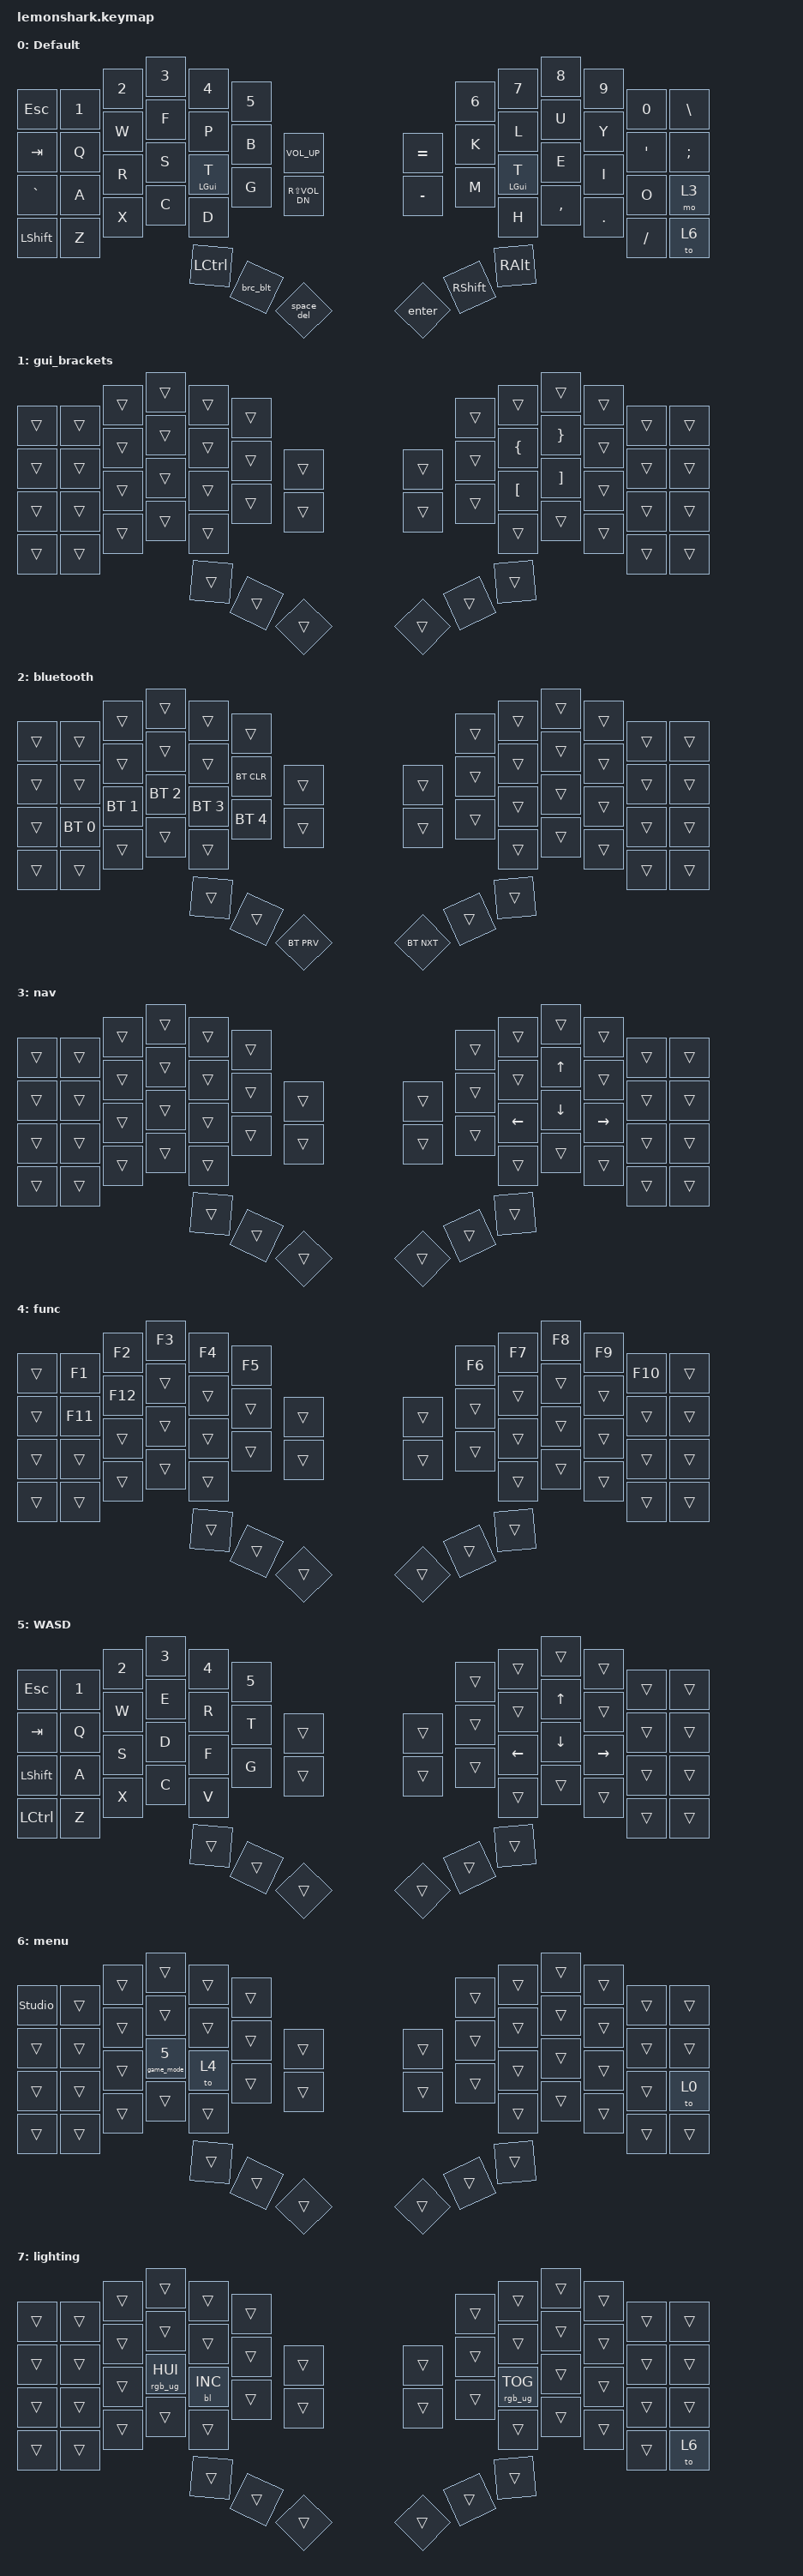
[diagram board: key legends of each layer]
#include <behaviors.dtsi>
#include <dt-bindings/zmk/backlight.h>
#include <dt-bindings/zmk/bt.h>
#include <dt-bindings/zmk/keys.h>
#include <dt-bindings/zmk/rgb.h>
#include <dt-bindings/zmk/pointing.h>

/ {
    combos {
        compatible = "zmk,combos";

        combo_v {
            bindings = <&kp V>;
            key-positions = <45 46>;
            layers = <0>;
        };

        combo_j {
            bindings = <&kp J>;
            key-positions = <18 17>;
        };
    };

    behaviors {
        enter: enter {
            compatible = "zmk,behavior-mod-morph";
            label = "ENTER";
            bindings = <&kp BSPC>, <&kp RET>;

            #binding-cells = <0>;
            mods = <(MOD_RALT)>;
        };

        space_del: space_del {
            compatible = "zmk,behavior-mod-morph";
            label = "SPACE_DEL";
            bindings = <&kp SPACE>, <&kp DELETE>;

            #binding-cells = <0>;
            mods = <(MOD_LSFT)>;
        };

        brc_blt: brc_blt {
            compatible = "zmk,behavior-mod-morph";
            label = "BRC_BLT";
            bindings = <&mo 0>, <&mo 2>;

            #binding-cells = <0>;
            mods = <(MOD_LSFT)>;
        };

        game_mode: game_mode {
            compatible = "zmk,behavior-toggle-layer";
            label = "GAME_MODE";
            #binding-cells = <1>;
            toggle-mode = "flip";
        };

        hrm_index: hrm_index {
            compatible = "zmk,behavior-hold-tap";
            label = "HRM_INDEX";
            bindings = <&kp>, <&kp>;

            #binding-cells = <2>;
            hold-trigger-key-positions = <32>;
            tapping-term-ms = <50>;
        };
    };

    keymap {
        compatible = "zmk,keymap";

        colemak-dh {
            bindings = <
&kp ESC    &kp N1  &kp N2  &kp N3  &kp N4             &kp N5     &kp K_VOL_UP
                                                                                   &kp EQUAL  &kp N6    &kp N7             &kp N8     &kp N9   &kp N0    &kp BSLH
&kp TAB    &kp Q   &kp W   &kp F   &kp P              &kp B      &kp RS(K_VOL_DN)
                                                                                   &kp MINUS  &kp K     &kp L              &kp U      &kp Y    &kp SQT   &kp SEMI
&kp GRAVE  &kp A   &kp R   &kp S   &hrm_index LGUI T  &kp G      &space_del
                                                                                   &enter     &kp M     &hrm_index LGUI T  &kp E      &kp I    &kp O     &mo 3
&kp LSHFT  &kp Z   &kp X   &kp C   &kp D              &kp LCTRL  &brc_blt
                                                                                   &kp RSHFT  &kp RALT  &kp H              &kp COMMA  &kp DOT  &kp FSLH  &to 6
            >;

            label = "Default";
        };

        gui_brackets {
            bindings = <
&trans  &trans  &trans  &trans  &trans  &trans  &trans
                                                        &trans  &trans  &trans            &trans    &trans  &trans  &trans
&trans  &trans  &trans  &trans  &trans  &trans  &trans
                                                        &trans  &trans  &kp LBRC          &kp RBRC  &trans  &trans  &trans
&trans  &trans  &trans  &trans  &trans  &trans  &trans
                                                        &trans  &trans  &kp LEFT_BRACKET  &kp RBKT  &trans  &trans  &trans
&trans  &trans  &trans  &trans  &trans  &trans  &trans
                                                        &trans  &trans  &trans            &trans    &trans  &trans  &trans
            >;
        };

        bluetooth {
            bindings = <
&trans  &trans        &trans        &trans        &trans        &trans        &trans
                                                                                          &trans      &trans  &trans  &trans  &trans  &trans  &trans
&trans  &trans        &trans        &trans        &trans        &bt BT_CLR    &trans
                                                                                          &trans      &trans  &trans  &trans  &trans  &trans  &trans
&trans  &bt BT_SEL 0  &bt BT_SEL 1  &bt BT_SEL 2  &bt BT_SEL 3  &bt BT_SEL 4  &bt BT_PRV
                                                                                          &bt BT_NXT  &trans  &trans  &trans  &trans  &trans  &trans
&trans  &trans        &trans        &trans        &trans        &trans        &trans
                                                                                          &trans      &trans  &trans  &trans  &trans  &trans  &trans
            >;
        };

        nav {
            bindings = <
&trans  &trans  &trans  &trans  &trans  &trans  &trans
                                                        &trans  &trans  &trans    &trans    &trans     &trans  &trans
&trans  &trans  &trans  &trans  &trans  &trans  &trans
                                                        &trans  &trans  &trans    &kp UP    &trans     &trans  &trans
&trans  &trans  &trans  &trans  &trans  &trans  &trans
                                                        &trans  &trans  &kp LEFT  &kp DOWN  &kp RIGHT  &trans  &trans
&trans  &trans  &trans  &trans  &trans  &trans  &trans
                                                        &trans  &trans  &trans    &trans    &trans     &trans  &trans
            >;

            label = "nav";
        };

        function {
            bindings = <
&trans  &kp F1   &kp F2   &kp F3  &kp F4  &kp F5  &trans
                                                          &trans  &kp F6  &kp F7  &kp F8  &kp F9  &kp F10  &trans
&trans  &kp F11  &kp F12  &trans  &trans  &trans  &trans
                                                          &trans  &trans  &trans  &trans  &trans  &trans   &trans
&trans  &trans   &trans   &trans  &trans  &trans  &trans
                                                          &trans  &trans  &trans  &trans  &trans  &trans   &trans
&trans  &trans   &trans   &trans  &trans  &trans  &trans
                                                          &trans  &trans  &trans  &trans  &trans  &trans   &trans
            >;

            label = "func";
        };

        games {
            bindings = <
&kp ESC    &kp N1  &kp N2  &kp N3  &kp N4  &kp N5  &trans
                                                           &trans  &trans  &trans    &trans    &trans     &trans  &trans
&kp TAB    &kp Q   &kp W   &kp E   &kp R   &kp T   &trans
                                                           &trans  &trans  &trans    &kp UP    &trans     &trans  &trans
&kp LSHFT  &kp A   &kp S   &kp D   &kp F   &kp G   &trans
                                                           &trans  &trans  &kp LEFT  &kp DOWN  &kp RIGHT  &trans  &trans
&kp LCTRL  &kp Z   &kp X   &kp C   &kp V   &trans  &trans
                                                           &trans  &trans  &trans    &trans    &trans     &trans  &trans
            >;

            label = "WASD";
        };

        menu {
            bindings = <
&studio_unlock  &trans  &trans  &trans        &trans  &trans  &trans
                                                                      &trans  &trans  &trans  &trans  &trans  &trans  &trans
&trans          &trans  &trans  &trans        &trans  &trans  &trans
                                                                      &trans  &trans  &trans  &trans  &trans  &trans  &trans
&trans          &trans  &trans  &game_mode 5  &to 4   &trans  &trans
                                                                      &trans  &trans  &trans  &trans  &trans  &trans  &to 0
&trans          &trans  &trans  &trans        &trans  &trans  &trans
                                                                      &trans  &trans  &trans  &trans  &trans  &trans  &trans
            >;

            label = "menu";
        };

        lighting {
            bindings = <
&trans  &trans  &trans  &trans           &trans      &trans  &trans
                                                                     &trans  &trans  &trans           &trans  &trans  &trans  &trans
&trans  &trans  &trans  &trans           &trans      &trans  &trans
                                                                     &trans  &trans  &trans           &trans  &trans  &trans  &trans
&trans  &trans  &trans  &rgb_ug RGB_HUI  &bl BL_INC  &trans  &trans
                                                                     &trans  &trans  &rgb_ug RGB_TOG  &trans  &trans  &trans  &trans
&trans  &trans  &trans  &trans           &trans      &trans  &trans
                                                                     &trans  &trans  &trans           &trans  &trans  &trans  &to 6
            >;
        };
    };

    conditional_layers { compatible = "zmk,conditional-layers"; };
};
